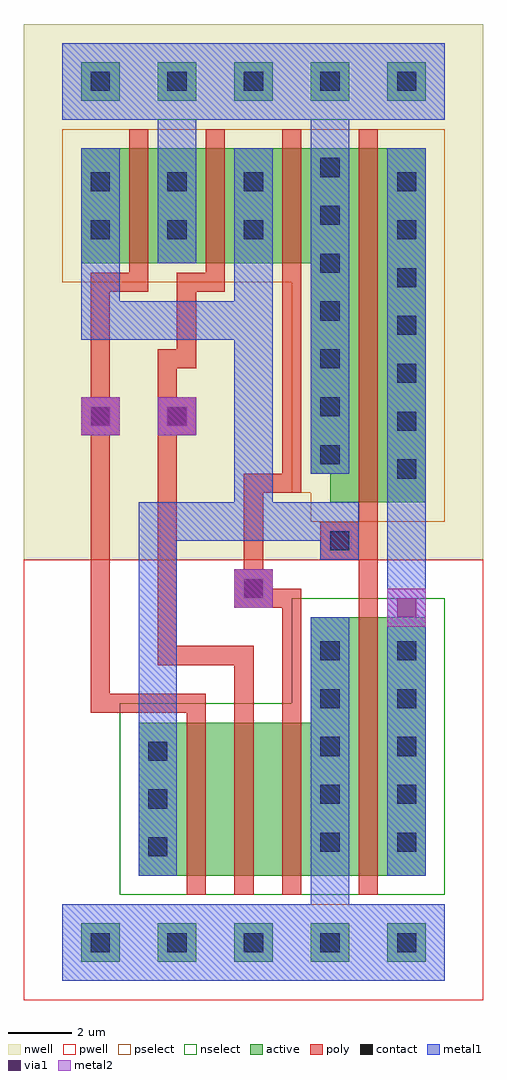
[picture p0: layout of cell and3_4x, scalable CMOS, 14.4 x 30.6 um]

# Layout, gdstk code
import gdstk
lib = gdstk.Library(unit=1e-6, precision=1e-09)
def R(c, l, rs):  # rectangles x0, y0, x1, y1
    for r in rs: c.add(gdstk.rectangle(r[:2], r[2:], *l))
def A(c, l, x, y, w, h, nx, ny, dx, dy):  # array of equal rectangles
    R(c, l, [(x+i*dx, y+j*dy, x+i*dx+w, y+j*dy+h) for i in range(nx) for j in range(ny)])
contact = (25, 0)
pwell = (41, 0)
nwell = (42, 0)
active = (43, 0)
pselect = (44, 0)
nselect = (45, 0)
poly = (46, 0)
metal1 = (49, 0)
via1 = (50, 0)
metal2 = (51, 0)

and3_4x = lib.new_cell('and3_4x')
A(and3_4x, contact, 0.3, -0.3, 0.6, 0.6, 5, 2, 2.4, 27)
A(and3_4x, contact, 2.1, 2.7, 0.6, 0.6, 1, 3, 0, 1.5)
A(and3_4x, contact, 7.5, 2.85, 0.6, 0.6, 1, 5, 0, 1.5)
A(and3_4x, contact, 9.9, 2.85, 0.6, 0.6, 1, 5, 0, 1.5)
A(and3_4x, contact, 9.9, 14.55, 0.6, 0.6, 1, 7, 0, 1.5)
A(and3_4x, contact, 7.5, 15, 0.6, 0.6, 1, 7, 0, 1.5)
A(and3_4x, contact, 0.3, 22.05, 0.6, 0.6, 3, 2, 2.4, 1.5)
R(and3_4x, contact, [(5.1,10.8,5.7,11.4), (7.8,12.3,8.4,12.9), (0.3,16.2,0.9,16.8), (2.7,16.2,3.3,16.8)])
A(and3_4x, pwell, -0.9, -1.5, 3, 3, 5, 1, 2.4, 0)
A(and3_4x, pwell, 0.6, 0.3, 6, 8.4, 3, 1, 1.5, 0)
R(and3_4x, pwell, [(-1.8,-1.8,12.6,12), (0,0.3,4.8,8.7), (5.4,0.3,10.2,12), (6,0.3,12,12), (7.8,0.3,12.6,12), (0.15,1.95,4.725,6.45), (1.725,2.4,6.975,6.9), (3.225,2.85,8.475,7.35), (5.475,3.3,10.2,7.8), (7.875,3.75,12.45,8.25), (5.625,4.65,10.2,9.15)])
A(and3_4x, nwell, -1.8, 19.5, 4.8, 7.2, 3, 1, 2.4, 0)
A(and3_4x, nwell, -1.2, 19.5, 6, 7.2, 3, 1, 2.4, 0)
A(and3_4x, nwell, -0.9, 25.5, 3, 3, 5, 1, 2.4, 0)
R(and3_4x, nwell, [(-1.8,12,12.6,28.8), (6,12,12,26.7), (7.8,12,12.6,26.7), (5.4,12.9,10.2,26.7), (5.55,17.25,10.125,21.75), (7.875,18.15,12.45,22.65), (3.15,20.25,7.725,24.75), (-1.575,20.4,3,24.9), (0.675,20.4,5.25,24.9), (5.475,20.55,10.05,25.05), (0.75,20.85,5.325,25.35), (3.075,21.15,7.65,25.65)])
A(and3_4x, active, 0, -0.6, 1.2, 1.2, 5, 2, 2.4, 27)
A(and3_4x, active, 2.4, 2.1, 2.4, 4.8, 3, 1, 1.5, 0)
A(and3_4x, active, 0, 21.3, 1.2, 3.6, 3, 1, 2.4, 0)
A(and3_4x, active, 0.6, 21.3, 2.4, 3.6, 3, 1, 2.4, 0)
R(and3_4x, active, [(1.8,2.1,3,6.9), (7.2,2.1,8.4,10.2), (7.8,2.1,10.2,10.2), (9.6,2.1,10.8,10.2), (1.95,3.75,2.925,4.65), (3.525,4.2,5.175,5.1), (5.025,4.65,6.675,5.55), (7.275,5.1,8.4,6), (9.675,5.55,10.65,6.45), (7.425,6.45,8.4,7.35), (7.8,13.8,10.2,24.9), (9.6,13.8,10.8,24.9), (7.2,14.7,8.4,24.9), (7.35,19.05,8.325,19.95), (9.675,19.95,10.65,20.85), (4.95,22.05,5.925,22.95), (0.225,22.2,1.2,23.1), (2.475,22.2,3.45,23.1), (7.275,22.35,8.25,23.25), (2.55,22.65,3.525,23.55), (4.875,22.95,5.85,23.85)])
A(and3_4x, pselect, -0.6, -1.2, 2.4, 2.4, 5, 1, 2.4, 0)
A(and3_4x, pselect, -0.6, 20.7, 2.4, 4.8, 3, 1, 2.4, 0)
A(and3_4x, pselect, 0, 20.7, 3.6, 4.8, 3, 1, 2.4, 0)
R(and3_4x, pselect, [(7.2,13.2,10.8,25.5), (9,13.2,11.4,25.5), (6.6,14.1,9,25.5), (6.75,18.45,8.925,20.55), (9.075,19.35,11.25,21.45), (4.35,21.45,6.525,23.55), (-0.375,21.6,1.8,23.7), (1.875,21.6,4.05,23.7), (6.675,21.75,8.85,23.85), (1.95,22.05,4.125,24.15), (4.275,22.35,6.45,24.45)])
A(and3_4x, nselect, 1.8, 1.5, 3.6, 6, 3, 1, 1.5, 0)
A(and3_4x, nselect, -0.6, 25.8, 2.4, 2.4, 5, 1, 2.4, 0)
R(and3_4x, nselect, [(1.2,1.5,3.6,7.5), (6.6,1.5,9,10.8), (7.2,1.5,10.8,10.8), (9,1.5,11.4,10.8), (1.35,3.15,3.525,5.25), (2.925,3.6,5.775,5.7), (4.425,4.05,7.275,6.15), (6.675,4.5,9,6.6), (9.075,4.95,11.25,7.05), (6.825,5.85,9,7.95)])
A(and3_4x, poly, 3.3, 1.5, 0.6, 6, 3, 1, 1.5, 0)
A(and3_4x, poly, 1.5, 20.7, 0.6, 4.8, 3, 1, 2.4, 0)
R(and3_4x, poly, [(8.7,1.5,9.3,10.8), (0.3,7.2,3.9,7.8), (0.3,7.2,0.9,16.8), (4.8,7.2,5.4,9.3), (6.3,7.2,6.9,11.1), (2.4,8.7,5.4,9.3), (2.4,8.7,3,16.8), (4.8,10.5,6,11.7), (5.1,10.5,6.9,11.1), (5.1,10.5,5.7,11.4), (8.7,10.5,9.3,12.9), (5.1,10.8,5.7,14.7), (7.5,12,8.7,13.2), (7.8,12.3,9.3,12.9), (8.7,12.3,9.3,13.5), (8.7,13.2,9.3,25.5), (5.1,14.1,6.9,14.7), (6.3,14.1,6.9,21), (0,15.9,1.2,17.1), (2.4,15.9,3.6,17.1), (0.3,16.2,0.9,21), (0.3,16.2,0.9,16.8), (2.4,16.2,3,18.6), (2.4,16.2,3.3,16.8), (2.4,18,3.6,18.6), (3,18,3.6,21), (0.3,20.4,2.1,21), (3,20.4,4.5,21)])
A(and3_4x, metal1, -0.6, -1.2, 4.8, 2.4, 4, 1, 2.4, 0)
A(and3_4x, metal1, 0, -0.6, 1.2, 1.2, 5, 1, 2.4, 0)
A(and3_4x, metal1, 0, 21.3, 1.2, 3.6, 3, 1, 2.4, 0)
A(and3_4x, metal1, 0, 26.4, 1.2, 1.2, 4, 1, 2.4, 0)
R(and3_4x, metal1, [(-0.6,-1.2,1.8,1.2), (-0.6,-1.2,4.2,1.2), (7.2,-0.6,8.4,3.15), (1.8,2.1,3,6.9), (7.2,2.1,8.4,10.2), (9.6,2.1,10.8,10.2), (1.8,5.7,3,13.8), (9.6,9,10.8,10.2), (9.6,9,10.8,11.1), (9.6,9,10.8,14.85), (9.6,9.9,10.8,11.1), (4.8,10.5,6,11.7), (4.8,10.5,6,11.7), (4.8,10.5,6,11.7), (7.5,12,8.7,13.2), (7.5,12,8.7,13.8), (1.8,12.6,6,13.8), (4.8,12.6,6,20.1), (4.8,12.6,8.7,13.8), (9.6,13.8,10.8,24.9), (7.2,14.7,8.4,24.9), (0,15.9,1.2,17.1), (0,15.9,1.2,17.1), (2.4,15.9,3.6,17.1), (2.4,15.9,3.6,17.1), (0.15,16.05,1.05,16.95), (2.55,16.05,3.45,16.95), (0,18.9,6,20.1), (0,18.9,1.2,22.35), (4.8,18.9,6,23.7), (7.2,23.7,8.4,27.6), (2.4,23.85,3.6,27.6), (-0.6,25.8,1.8,28.2), (-0.6,25.8,4.2,28.2), (1.8,25.8,9,28.2), (6.6,25.8,11.4,28.2), (0,26.4,1.2,27.6), (4.8,26.4,8.4,27.6), (7.2,26.4,8.4,27.6), (9.6,26.4,10.8,27.6), (9.6,26.4,10.8,27.6)])
R(and3_4x, via1, [(9.9,10.2,10.5,10.8), (5.1,10.8,5.7,11.4), (0.3,16.2,0.9,16.8), (2.7,16.2,3.3,16.8)])
R(and3_4x, metal2, [(9.6,9.9,10.8,11.1), (4.8,10.5,6,11.7), (0,15.9,1.2,17.1), (2.4,15.9,3.6,17.1)])

lib.write_gds('and3_4x.gds')
